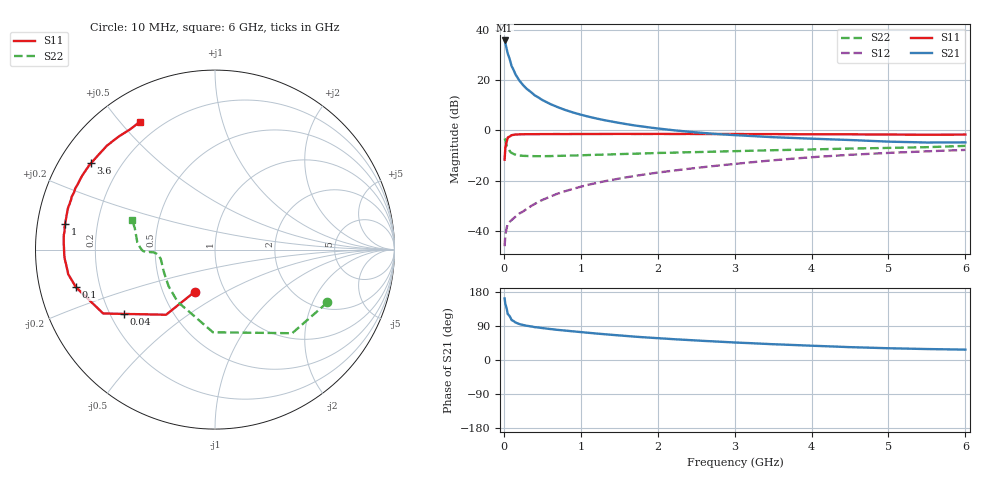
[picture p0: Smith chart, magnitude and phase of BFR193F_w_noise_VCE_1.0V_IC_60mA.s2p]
! Infineon Technologies  Discrete & RF Semiconductors
! BFR193F
! VCE =  1.0 V,  IC =  60 mA
! Common Emitter S-Parameters:  Jan 2017
# GHz  S  MA  R  50
!  f  S11  S21  S12  S22
! GHz  MAG  ANG  MAG  ANG  MAG  ANG  MAG  ANG
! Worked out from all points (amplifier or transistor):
!   77 points, 10 MHz to 6 GHz, reference 50 ohm
!   highest |S21| = 35.9 dB at 10 MHz (marker M1)
!   |S21| within 3 dB of that: start of sweep to 34.18 MHz
!   unconditionally stable (mu >= 1): 345.6 MHz to 3.8 GHz; 4.823 GHz to 5.991 GHz
!   at 130 MHz: K = 0.67, MSG = 29.4 dB, |S12| = -35.0 dB
!   at 2.2 GHz: K = 1.11, MAG = 6.1 dB, |S12| = -16.1 dB
!   at 6 GHz: K = 1.00, MSG = 1.5 dB, |S12| = -7.8 dB
!   lowest NFmin = 1.64 dB at 450 MHz
!   S11 on the Smith chart (normalised r, x): 10 MHz: 0.72, -0.36; 40 MHz: 0.26, -0.30; 100 MHz: 0.11, -0.13; 1 GHz: 0.08, +0.08; 3.6 GHz: 0.09, +0.31; 6 GHz: 0.13, +0.56
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0.01  0.2608 -115.7  62.31 162.5  0.0049 73.4  0.6917 -25.2
0.02  0.4538 -126.9  54.88 147.2  0.0083 62.7  0.6341 -47.3
0.04  0.6203 -144.7  40.18 132.8  0.0118 50.5  0.482 -73.6
0.05  0.7178 -150.3  34.36 121.4  0.0136 46.8  0.4609 -91.4
0.1  0.8027 -164.9  19.32 105.5  0.0162 44.0  0.3576 -125.6
0.15  0.8292 -170.5  13.21 99.1  0.0189 46.6  0.3294 -141.6
0.2  0.8329 -173.9  9.982 95.0  0.0219 51.2  0.3165 -150.0
0.25  0.8385 -176.3  8.005 92.4  0.0241 56.5  0.3109 -156.2
0.3  0.8404 -177.8  6.697 90.3  0.0274 59.1  0.3088 -159.9
0.4  0.8413 179.5  5.029 86.8  0.034 64.2  0.3061 -165.2
0.5  0.8434 177.7  4.042 84.3  0.0409 66.8  0.3057 -168.3
0.6  0.845 175.9  3.383 81.8  0.0475 69.0  0.3073 -170.5
0.7  0.8464 174.3  2.91 79.5  0.0548 69.7  0.31 -171.8
1  0.8469 170.4  2.061 73.7  0.0752 72.4  0.3179 -174.7
1.1  0.8478 169.3  1.88 71.8  0.0825 72.3  0.3227 -175.3
1.5  0.8509 164.9  1.411 64.9  0.1093 72.7  0.3366 -176.8
2.1  0.8493 158.9  1.051 56.4  0.1505 71.8  0.357 -177.7
3.1  0.8458 149.9  0.79 45.3  0.2217 68.5  0.3888 -178.1
3.6  0.8419 145.2  0.722 40.9  0.2609 65.9  0.4053 -179.5
4.1  0.8361 140.1  0.676 37.0  0.2982 62.4  0.4203 177.7
5.1  0.8255 129.4  0.592 30.6  0.3609 55.0  0.4502 168.7
6  0.8259 120.5  0.577 27.4  0.408 48.8  0.4913 160.1
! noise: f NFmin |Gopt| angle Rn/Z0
0.45  1.64  0.49  -178  0.08
0.9  1.73  0.5  -177  0.09
1.9  2.33  0.61  -162  0.1
2.4  2.66  0.62  -155  0.17
